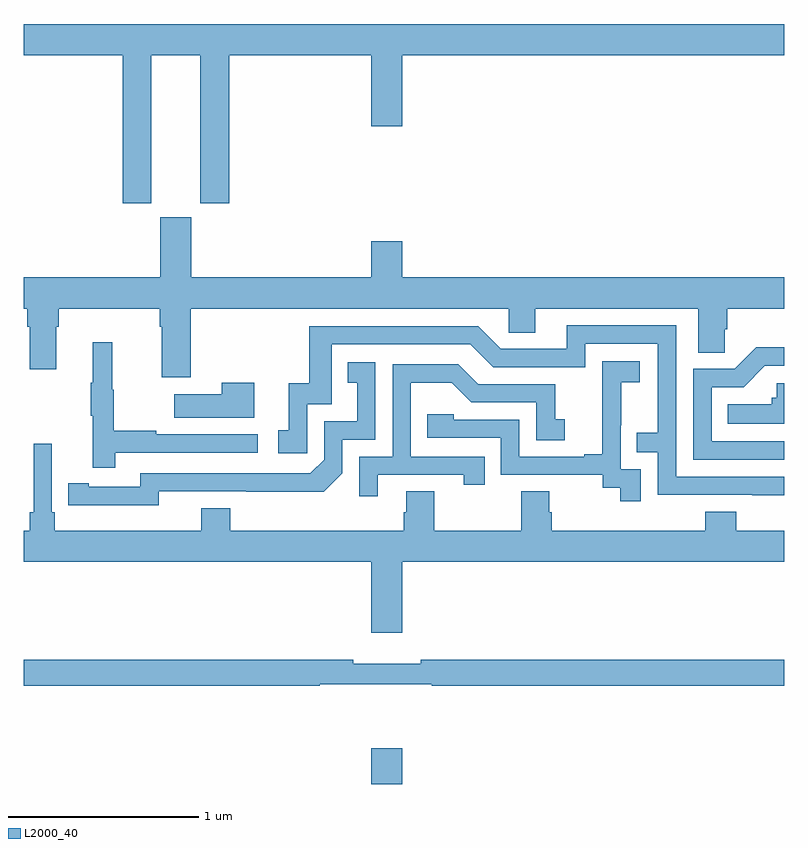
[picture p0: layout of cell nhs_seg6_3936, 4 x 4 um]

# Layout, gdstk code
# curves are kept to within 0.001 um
import gdstk
lib = gdstk.Library(unit=1e-6, precision=1e-09)
def R(c, l, rs):  # rectangles x0, y0, x1, y1
    for r in rs: c.add(gdstk.rectangle(r[:2], r[2:], *l))
def P(c, l, *ps):  # polygons
    for p in ps: c.add(gdstk.Polygon(p, *l))
L2000_40 = (2000, 40)

nhs_seg6_3936 = lib.new_cell('nhs_seg6_3936')
R(nhs_seg6_3936, L2000_40, [(344.828,947.5,344.992,947.689)])
P(nhs_seg6_3936, L2000_40, [(343.672,951.332),(343.928,951.332),(343.928,950.553),(344.081,950.553),(344.081,951.332),(344.828,951.332),(344.828,950.958),(344.992,950.958),(344.992,951.332),(347,951.332),(347,951.496),(343,951.496),(343,951.332),(343.52,951.332),(343.52,950.553),(343.672,950.553)],
  [(343.88,950),(345.552,950),(345.552,949.873),(345.691,949.873),(345.691,950),(346.547,950),(346.547,949.768),(346.686,949.768),(346.686,949.891),(346.7,949.891),(346.7,950),(347,950),(347,950.164),(344.992,950.164),(344.992,950.353),(344.828,950.353),(344.828,950.164),(343.882,950.164),(343.882,950.481),(343.718,950.481),(343.718,950.164),(343,950.164),(343,950),(343.019,950),(343.019,949.904),(343.031,949.904),(343.031,949.68),(343.171,949.68),(343.171,949.904),(343.184,949.904),(343.184,950),(343.715,950),(343.715,949.904),(343.727,949.904),(343.727,949.638),(343.88,949.638)],
  [(347,949.116),(346.431,949.116),(346.431,949.911),(345.857,949.911),(345.857,949.788),(345.51,949.788),(345.39,949.908),(344.503,949.908),(344.503,949.606),(344.393,949.606),(344.393,949.359),(344.34,949.359),(344.34,949.239),(344.49,949.239),(344.49,949.497),(344.619,949.497),(344.619,949.812),(345.348,949.812),(345.468,949.692),(345.954,949.692),(345.954,949.815),(346.335,949.815),(346.335,949.346),(346.225,949.346),(346.225,949.245),(346.335,949.245),(346.335,949.02),(347,949.019)],
  [(343.481,949.242),(344.23,949.242),(344.23,949.338),(343.697,949.338),(343.697,949.358),(343.474,949.358),(343.474,949.572),(343.466,949.572),(343.466,949.822),(343.364,949.822),(343.364,949.609),(343.353,949.609),(343.353,949.435),(343.364,949.435),(343.364,949.164),(343.481,949.164)],
  [(347,949.302),(346.617,949.302),(346.617,949.587),(346.786,949.587),(346.897,949.698),(347,949.698),(347,949.796),(346.853,949.796),(346.74,949.683),(346.521,949.683),(346.521,949.206),(347,949.206)],
  [(346.245,949.155),(346.14,949.155),(346.14,949.385),(346.142,949.385),(346.142,949.613),(346.24,949.613),(346.24,949.723),(346.042,949.723),(346.042,949.517),(346.043,949.517),(346.043,949.234),(345.947,949.234),(345.947,949.221),(345.606,949.221),(345.606,949.416),(345.261,949.416),(345.261,949.443),(345.121,949.443),(345.121,949.32),(345.51,949.32),(345.51,949.125),(346.044,949.125),(346.044,949.057),(346.137,949.057),(346.137,948.987),(346.245,948.987)],
  [(343.71,949.038),(344.578,949.037),(344.676,949.134),(344.676,949.311),(344.85,949.311),(344.85,949.717),(344.704,949.717),(344.704,949.611),(344.753,949.611),(344.753,949.407),(344.58,949.407),(344.58,949.206),(344.508,949.134),(343.614,949.134),(343.614,949.062),(343.342,949.062),(343.342,949.082),(343.234,949.082),(343.234,948.966),(343.71,948.965)],
  [(344.863,949.125),(345.314,949.125),(345.314,949.074),(345.425,949.074),(345.425,949.221),(345.036,949.221),(345.036,949.61),(345.25,949.61),(345.354,949.506),(345.696,949.506),(345.696,949.308),(345.844,949.308),(345.844,949.417),(345.795,949.417),(345.795,949.602),(345.391,949.602),(345.286,949.707),(344.94,949.707),(344.94,949.221),(344.766,949.221),(344.766,949.014),(344.863,949.014)],
  [(344.212,949.609),(344.042,949.609),(344.042,949.549),(343.793,949.549),(343.793,949.427),(344.212,949.427)],
  [(347,949.606),(346.959,949.606),(346.959,949.53),(346.933,949.53),(346.933,949.498),(346.702,949.498),(346.702,949.394),(347,949.394)],
  [(344.992,948.668),(347,948.668),(347,948.832),(346.748,948.832),(346.748,948.931),(346.583,948.931),(346.583,948.832),(345.776,948.832),(345.776,948.93),(345.763,948.93),(345.763,949.04),(345.616,949.04),(345.616,948.832),(345.159,948.832),(345.159,949.04),(345.011,949.04),(345.011,948.93),(344.999,948.93),(344.999,948.832),(344.087,948.832),(344.087,948.949),(343.934,948.949),(343.934,948.832),(343.163,948.832),(343.163,948.928),(343.149,948.928),(343.149,949.288),(343.052,949.288),(343.052,948.928),(343.033,948.928),(343.033,948.832),(343,948.832),(343,948.668),(344.828,948.668),(344.828,948.294),(344.992,948.294)],
  [(344.558,948.024),(345.145,948.024),(345.145,948.016),(347,948.016),(347,948.152),(345.088,948.152),(345.088,948.133),(344.732,948.133),(344.732,948.152),(343,948.152),(343,948.016),(344.558,948.016)])

lib.write_gds('nhs_seg6_3936.gds')
